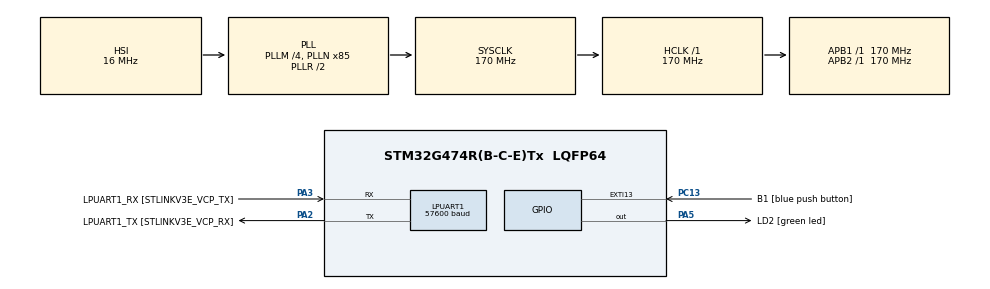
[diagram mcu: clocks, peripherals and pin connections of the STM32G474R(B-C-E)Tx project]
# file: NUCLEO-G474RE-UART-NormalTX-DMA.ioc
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Dma.LPUART1_TX.0.Direction=DMA_MEMORY_TO_PERIPH
Dma.LPUART1_TX.0.EventEnable=DISABLE
Dma.LPUART1_TX.0.Instance=DMA1_Channel1
Dma.LPUART1_TX.0.MemDataAlignment=DMA_MDATAALIGN_BYTE
Dma.LPUART1_TX.0.MemInc=DMA_MINC_ENABLE
Dma.LPUART1_TX.0.Mode=DMA_NORMAL
Dma.LPUART1_TX.0.PeriphDataAlignment=DMA_PDATAALIGN_BYTE
Dma.LPUART1_TX.0.PeriphInc=DMA_PINC_DISABLE
Dma.LPUART1_TX.0.Polarity=HAL_DMAMUX_REQ_GEN_RISING
Dma.LPUART1_TX.0.Priority=DMA_PRIORITY_LOW
Dma.LPUART1_TX.0.RequestNumber=1
Dma.LPUART1_TX.0.SignalID=NONE
Dma.LPUART1_TX.0.SyncEnable=DISABLE
Dma.LPUART1_TX.0.SyncPolarity=HAL_DMAMUX_SYNC_NO_EVENT
Dma.LPUART1_TX.0.SyncRequestNumber=1
Dma.LPUART1_TX.0.SyncSignalID=NONE
Dma.Request0=LPUART1_TX
LPUART1.BaudRate=57600
LPUART1.WordLength=UART_WORDLENGTH_8B
Mcu.Family=STM32G4
Mcu.Name=STM32G474R(B-C-E)Tx
Mcu.Package=LQFP64
NVIC.DMA1_Channel1_IRQn=true\:0\:0\:false\:false\:true\:false\:true\:true
NVIC.EXTI15_10_IRQn=true\:0\:0\:false\:false\:true\:true\:true\:true
NVIC.LPUART1_IRQn=true\:0\:0\:false\:false\:true\:true\:true\:true
NVIC.PriorityGroup=NVIC_PRIORITYGROUP_4
PA13.GPIO_Label=T_SWDIO
PA13.Mode=Trace_Asynchronous_SW
PA13.Signal=SYS_JTMS-SWDIO
PA14.GPIO_Label=T_SWCLK
PA14.Mode=Trace_Asynchronous_SW
PA14.Signal=SYS_JTCK-SWCLK
PA2.GPIO_Label=LPUART1_TX [STLINKV3E_VCP_RX]
PA2.Mode=Asynchronous
PA2.Signal=LPUART1_TX
PA3.GPIO_Label=LPUART1_RX [STLINKV3E_VCP_TX]
PA3.Mode=Asynchronous
PA3.Signal=LPUART1_RX
PA5.GPIO_Label=LD2 [green led]
PA5.Signal=GPIO_Output
PB3.GPIO_Label=T_SWO
PB3.Mode=Trace_Asynchronous_SW
PB3.Signal=SYS_JTDO-SWO
PC13.GPIO_Label=B1 [blue push button]
PC13.Signal=GPXTI13
PC14-OSC32_IN.Mode=LSE-External-Oscillator
PC14-OSC32_IN.Signal=RCC_OSC32_IN
PC15-OSC32_OUT.Mode=LSE-External-Oscillator
PC15-OSC32_OUT.Signal=RCC_OSC32_OUT
PF0-OSC_IN.Mode=HSE-External-Oscillator
PF0-OSC_IN.Signal=RCC_OSC_IN
PF1-OSC_OUT.Mode=HSE-External-Oscillator
PF1-OSC_OUT.Signal=RCC_OSC_OUT
ProjectManager.HeapSize=0x200
ProjectManager.StackSize=0x400
ProjectManager.TargetToolchain=STM32CubeIDE
RCC.ADC12Freq_Value=170000000
RCC.ADC345Freq_Value=170000000
RCC.AHBFreq_Value=170000000
RCC.APB1Freq_Value=170000000
RCC.APB1TimFreq_Value=170000000
RCC.APB2Freq_Value=170000000
RCC.APB2TimFreq_Value=170000000
RCC.CortexFreq_Value=170000000
RCC.EXTERNAL_CLOCK_VALUE=12288000
RCC.HCLKFreq_Value=170000000
RCC.HSE_VALUE=24000000
RCC.HSI48_VALUE=48000000
RCC.HSI_VALUE=16000000
RCC.PLLM=RCC_PLLM_DIV4
RCC.PLLN=85
RCC.RTCClockSelection=RCC_RTCCLKSOURCE_LSE
RCC.SYSCLKFreq_VALUE=170000000
RCC.SYSCLKSource=RCC_SYSCLKSOURCE_PLLCLK
RCC.USBFreq_Value=170000000
RCC.VCOOutputFreq_Value=340000000
VP_SYS_VS_DBSignals.Mode=DisableDeadBatterySignals
board=NUCLEO-G474RE

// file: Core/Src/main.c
/* USER CODE BEGIN Header */
/**
  ******************************************************************************
  * @file           : main.c
  * @brief          : Main program body
  ******************************************************************************
  * @attention
  *
  * Copyright (c) 2022 STMicroelectronics.
  * All rights reserved.
  *
  * This software is licensed under terms that can be found in the LICENSE file
  * in the root directory of this software component.
  * If no LICENSE file comes with this software, it is provided AS-IS.
  *
  ******************************************************************************
  */
/* USER CODE END Header */
#include "main.h"

/* USER CODE BEGIN PD */

#define TXBUFFERSIZE                      (COUNTOF(aTxBuffer) - 1)
#define COUNTOF(__BUFFER__)   (sizeof(__BUFFER__) / sizeof(*(__BUFFER__)))

/* USER CODE END PD */

UART_HandleTypeDef hlpuart1;
DMA_HandleTypeDef hdma_lpuart1_tx;

/* USER CODE BEGIN PV */

__IO ITStatus UartReady = RESET;

/* Buffer used for transmission */
uint8_t aTxBuffer[] = " NUCLEO-G474RE-UART-NormalTX-DMA \n";

/* USER CODE END PV */

void SystemClock_Config(void);
static void MX_GPIO_Init(void);
static void MX_DMA_Init(void);
static void MX_LPUART1_UART_Init(void);

int main(void)
{

  /* MCU Configuration--------------------------------------------------------*/

  /* Reset of all peripherals, Initializes the Flash interface and the Systick. */
  HAL_Init();

  /* Configure the system clock */
  SystemClock_Config();

  /* Initialize all configured peripherals */
  MX_GPIO_Init();
  MX_DMA_Init();
  MX_LPUART1_UART_Init();
  /* USER CODE BEGIN 2 */

  if (HAL_UART_Transmit_DMA(&hlpuart1, (uint8_t *)aTxBuffer, TXBUFFERSIZE) != HAL_OK)
  {
    Error_Handler();
  }

  /*##-4- Wait for the end of the transfer ###################################*/
  while (UartReady != SET)
  {
  }
  /* Reset transmission flag */
  UartReady = RESET;

  if (HAL_UART_Transmit_DMA(&hlpuart1, (uint8_t *)aTxBuffer, TXBUFFERSIZE) != HAL_OK)
  {
    Error_Handler();
  }

  /*##-4- Wait for the end of the transfer ###################################*/
  while (UartReady != SET)
  {
  }
  /* Reset transmission flag */
  UartReady = RESET;

  HAL_GPIO_WritePin(GPIOA, GPIO_PIN_5, SET);

  /* USER CODE END 2 */

  /* Infinite loop */
  while (1)
  {

  }
}

void SystemClock_Config(void)
{
  RCC_OscInitTypeDef RCC_OscInitStruct = {0};
  RCC_ClkInitTypeDef RCC_ClkInitStruct = {0};

  /** Configure the main internal regulator output voltage
  */
  HAL_PWREx_ControlVoltageScaling(PWR_REGULATOR_VOLTAGE_SCALE1_BOOST);

  /** Initializes the RCC Oscillators according to the specified parameters
  * in the RCC_OscInitTypeDef structure.
  */
  RCC_OscInitStruct.OscillatorType = RCC_OSCILLATORTYPE_HSI;
  RCC_OscInitStruct.HSIState = RCC_HSI_ON;
  RCC_OscInitStruct.HSICalibrationValue = RCC_HSICALIBRATION_DEFAULT;
  RCC_OscInitStruct.PLL.PLLState = RCC_PLL_ON;
  RCC_OscInitStruct.PLL.PLLSource = RCC_PLLSOURCE_HSI;
  RCC_OscInitStruct.PLL.PLLM = RCC_PLLM_DIV4;
  RCC_OscInitStruct.PLL.PLLN = 85;
  RCC_OscInitStruct.PLL.PLLP = RCC_PLLP_DIV2;
  RCC_OscInitStruct.PLL.PLLQ = RCC_PLLQ_DIV2;
  RCC_OscInitStruct.PLL.PLLR = RCC_PLLR_DIV2;
  if (HAL_RCC_OscConfig(&RCC_OscInitStruct) != HAL_OK)
  {
    Error_Handler();
  }

  /** Initializes the CPU, AHB and APB buses clocks
  */
  RCC_ClkInitStruct.ClockType = RCC_CLOCKTYPE_HCLK|RCC_CLOCKTYPE_SYSCLK
                              |RCC_CLOCKTYPE_PCLK1|RCC_CLOCKTYPE_PCLK2;
  RCC_ClkInitStruct.SYSCLKSource = RCC_SYSCLKSOURCE_PLLCLK;
  RCC_ClkInitStruct.AHBCLKDivider = RCC_SYSCLK_DIV1;
  RCC_ClkInitStruct.APB1CLKDivider = RCC_HCLK_DIV1;
  RCC_ClkInitStruct.APB2CLKDivider = RCC_HCLK_DIV1;

  if (HAL_RCC_ClockConfig(&RCC_ClkInitStruct, FLASH_LATENCY_4) != HAL_OK)
  {
    Error_Handler();
  }
}

static void MX_LPUART1_UART_Init(void)
{

  hlpuart1.Instance = LPUART1;
  hlpuart1.Init.BaudRate = 57600;
  hlpuart1.Init.WordLength = UART_WORDLENGTH_8B;
  hlpuart1.Init.StopBits = UART_STOPBITS_1;
  hlpuart1.Init.Parity = UART_PARITY_NONE;
  hlpuart1.Init.Mode = UART_MODE_TX_RX;
  hlpuart1.Init.HwFlowCtl = UART_HWCONTROL_NONE;
  hlpuart1.Init.OneBitSampling = UART_ONE_BIT_SAMPLE_DISABLE;
  hlpuart1.Init.ClockPrescaler = UART_PRESCALER_DIV1;
  hlpuart1.AdvancedInit.AdvFeatureInit = UART_ADVFEATURE_NO_INIT;
  if (HAL_UART_Init(&hlpuart1) != HAL_OK)
  {
    Error_Handler();
  }
  if (HAL_UARTEx_SetTxFifoThreshold(&hlpuart1, UART_TXFIFO_THRESHOLD_1_8) != HAL_OK)
  {
    Error_Handler();
  }
  if (HAL_UARTEx_SetRxFifoThreshold(&hlpuart1, UART_RXFIFO_THRESHOLD_1_8) != HAL_OK)
  {
    Error_Handler();
  }
  if (HAL_UARTEx_DisableFifoMode(&hlpuart1) != HAL_OK)
  {
    Error_Handler();
  }

}

static void MX_DMA_Init(void)
{

  /* DMA controller clock enable */
  __HAL_RCC_DMAMUX1_CLK_ENABLE();
  __HAL_RCC_DMA1_CLK_ENABLE();

  /* DMA interrupt init */
  /* DMA1_Channel1_IRQn interrupt configuration */
  HAL_NVIC_SetPriority(DMA1_Channel1_IRQn, 0, 0);
  HAL_NVIC_EnableIRQ(DMA1_Channel1_IRQn);

}

static void MX_GPIO_Init(void)
{
  GPIO_InitTypeDef GPIO_InitStruct = {0};

  /* GPIO Ports Clock Enable */
  __HAL_RCC_GPIOC_CLK_ENABLE();
  __HAL_RCC_GPIOF_CLK_ENABLE();
  __HAL_RCC_GPIOA_CLK_ENABLE();
  __HAL_RCC_GPIOB_CLK_ENABLE();

  /*Configure GPIO pin Output Level */
  HAL_GPIO_WritePin(LD2_GPIO_Port, LD2_Pin, GPIO_PIN_RESET);

  /*Configure GPIO pin : B1_Pin */
  GPIO_InitStruct.Pin = B1_Pin;
  GPIO_InitStruct.Mode = GPIO_MODE_IT_RISING;
  GPIO_InitStruct.Pull = GPIO_NOPULL;
  HAL_GPIO_Init(B1_GPIO_Port, &GPIO_InitStruct);

  /*Configure GPIO pin : LD2_Pin */
  GPIO_InitStruct.Pin = LD2_Pin;
  GPIO_InitStruct.Mode = GPIO_MODE_OUTPUT_PP;
  GPIO_InitStruct.Pull = GPIO_NOPULL;
  GPIO_InitStruct.Speed = GPIO_SPEED_FREQ_LOW;
  HAL_GPIO_Init(LD2_GPIO_Port, &GPIO_InitStruct);

  /* EXTI interrupt init*/
  HAL_NVIC_SetPriority(EXTI15_10_IRQn, 0, 0);
  HAL_NVIC_EnableIRQ(EXTI15_10_IRQn);

}

/* USER CODE BEGIN 4 */

void HAL_UART_TxCpltCallback(UART_HandleTypeDef *UartHandle)
{
  /* Set transmission flag: transfer complete */
  UartReady = SET;

}

/* USER CODE END 4 */

void Error_Handler(void)
{
  __disable_irq();
  while (1)
  {
  }
}
